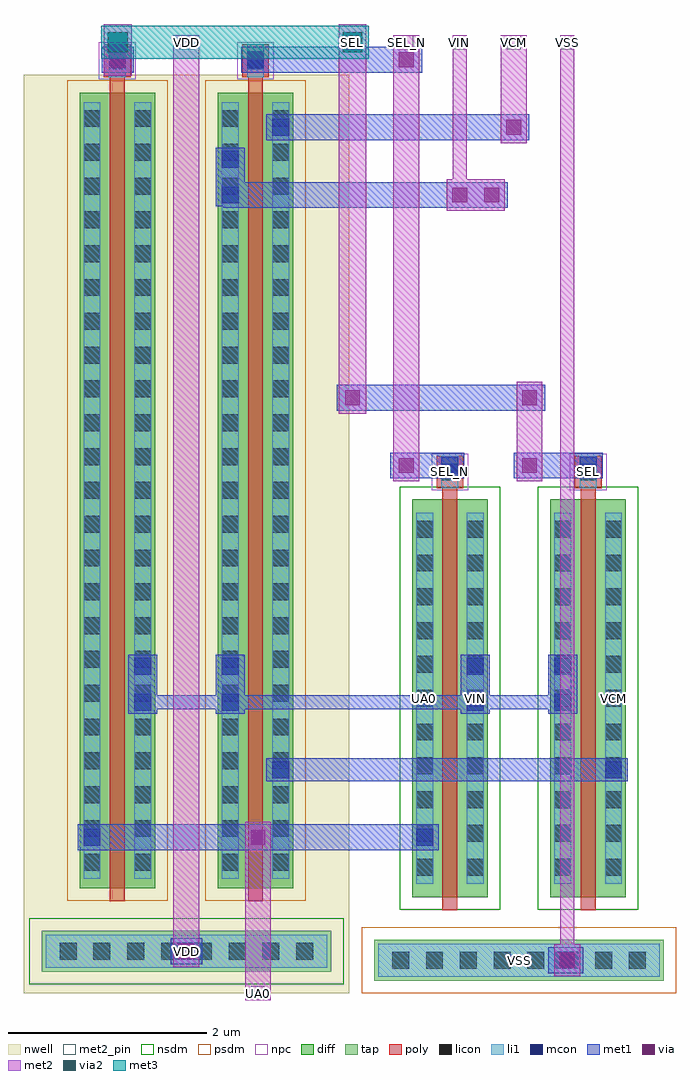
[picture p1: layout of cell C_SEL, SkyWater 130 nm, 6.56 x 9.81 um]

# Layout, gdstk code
import gdstk
lib = gdstk.Library(unit=1e-6, precision=1e-09)
def R(c, l, rs):  # rectangles x0, y0, x1, y1
    for r in rs: c.add(gdstk.rectangle(r[:2], r[2:], *l))
def A(c, l, x, y, w, h, nx, ny, dx, dy):  # array of equal rectangles
    R(c, l, [(x+i*dx, y+j*dy, x+i*dx+w, y+j*dy+h) for i in range(nx) for j in range(ny)])
nwell = (64, 20)
diff = (65, 20)
tap = (65, 44)
poly = (66, 20)
licon = (66, 44)
li1 = (67, 20)
mcon = (67, 44)
met1 = (68, 20)
via = (68, 44)
met2_pin = (69, 16)
met2 = (69, 20)
via2 = (69, 44)
met3 = (70, 20)
nsdm = (93, 44)
psdm = (94, 20)
npc = (95, 20)

c_sel = lib.new_cell('C_SEL')
R(c_sel, nwell, [(-1.635,-1.055,1.635,8.18)])
R(c_sel, diff, [(2.27,-0.09,3.03,3.91), (3.66,-0.09,4.42,3.91), (-1.075,0,-0.315,8), (0.315,0,1.075,8)])
R(c_sel, tap, [(1.89,-0.93,4.8,-0.52), (-1.455,-0.84,1.455,-0.43)])
R(c_sel, poly, [(2.575,-0.22,2.725,4.35), (3.965,-0.22,4.115,4.35), (-0.77,-0.13,-0.62,8.485), (0.62,-0.13,0.77,8.485), (2.515,4.02,2.785,4.35), (3.905,4.02,4.175,4.35), (-0.83,8.155,-0.56,8.485), (0.56,8.155,0.83,8.485)])
A(c_sel, licon, 2.07, -0.81, 0.17, 0.17, 8, 1, 0.34, 0)
A(c_sel, licon, -1.275, -0.72, 0.17, 0.17, 8, 1, 0.34, 0)
A(c_sel, licon, 2.31, 0.125, 0.17, 0.17, 1, 11, 0, 0.34)
A(c_sel, licon, 2.82, 0.125, 0.17, 0.17, 1, 11, 0, 0.34)
A(c_sel, licon, 3.7, 0.125, 0.17, 0.17, 1, 11, 0, 0.34)
A(c_sel, licon, 4.21, 0.125, 0.17, 0.17, 1, 11, 0, 0.34)
A(c_sel, licon, -1.035, 0.175, 0.17, 0.17, 1, 23, 0, 0.34)
A(c_sel, licon, -0.525, 0.175, 0.17, 0.17, 1, 23, 0, 0.34)
A(c_sel, licon, 0.355, 0.175, 0.17, 0.17, 1, 23, 0, 0.34)
A(c_sel, licon, 0.865, 0.175, 0.17, 0.17, 1, 23, 0, 0.34)
R(c_sel, licon, [(2.565,4.1,2.735,4.27), (3.955,4.1,4.125,4.27), (-0.78,8.235,-0.61,8.405), (0.61,8.235,0.78,8.405)])
R(c_sel, li1, [(1.93,-0.89,4.76,-0.56), (3.7,-0.81,3.87,-0.64), (-1.415,-0.8,1.415,-0.47), (-0.085,-0.72,0.085,-0.55), (2.31,0.045,2.48,3.775), (2.82,0.045,2.99,3.775), (3.7,0.045,3.87,3.775), (4.21,0.045,4.38,3.775), (-1.035,0.095,-0.865,7.905), (-0.525,0.095,-0.355,7.905), (0.355,0.095,0.525,7.905), (0.865,0.095,1.035,7.905), (-1.035,0.425,-0.865,0.595), (2.31,0.425,2.48,0.595), (0.865,1.105,1.035,1.275), (4.21,1.105,4.38,1.275), (-0.525,1.785,-0.355,2.315), (0.355,1.785,0.525,2.315), (2.82,1.785,2.99,2.315), (3.7,1.785,3.87,2.315), (2.565,4.02,2.735,4.35), (3.955,4.02,4.125,4.35), (2.565,4.165,2.735,4.335), (3.955,4.165,4.125,4.335), (0.355,6.885,0.525,7.415), (0.865,7.565,1.035,7.735), (-0.78,8.155,-0.61,8.485), (0.61,8.155,0.78,8.485), (-0.78,8.245,-0.61,8.415), (0.61,8.245,0.78,8.415)])
R(c_sel, mcon, [(3.7,-0.81,3.87,-0.64), (-0.085,-0.72,0.085,-0.55), (-1.035,0.425,-0.865,0.595), (2.31,0.425,2.48,0.595), (0.865,1.105,1.035,1.275), (4.21,1.105,4.38,1.275), (-0.525,1.785,-0.355,1.955), (0.355,1.785,0.525,1.955), (2.82,1.785,2.99,1.955), (3.7,1.785,3.87,1.955), (-0.525,2.145,-0.355,2.315), (0.355,2.145,0.525,2.315), (2.82,2.145,2.99,2.315), (3.7,2.145,3.87,2.315), (2.565,4.165,2.735,4.335), (3.955,4.165,4.125,4.335), (0.355,6.885,0.525,7.055), (0.355,7.245,0.525,7.415), (0.865,7.565,1.035,7.735), (-0.78,8.245,-0.61,8.415), (0.61,8.245,0.78,8.415)])
R(c_sel, met1, [(3.64,-0.855,3.99,-0.595), (3.67,-0.855,3.99,-0.595), (3.715,-0.855,3.9,-0.595), (3.64,-0.84,3.93,-0.61), (3.715,-0.84,3.9,-0.61), (3.715,-0.795,3.9,-0.655), (-0.16,-0.765,0.16,-0.505), (-0.145,-0.75,0.145,-0.52), (-1.095,0.38,0.79,0.64), (-1.02,0.38,0.79,0.64), (0.56,0.38,0.88,0.64), (0.65,0.38,2.465,0.64), (0.65,0.38,2.54,0.64), (-1.095,0.395,-0.805,0.625), (-1.02,0.395,0.79,0.625), (0.65,0.395,2.465,0.625), (2.25,0.395,2.54,0.625), (-1.02,0.44,0.79,0.58), (0.65,0.44,2.465,0.58), (0.805,1.075,1.095,1.305), (0.88,1.075,4.365,1.305), (4.15,1.075,4.44,1.305), (0.88,1.12,4.365,1.26), (-0.585,1.755,-0.295,2.345), (0.295,1.755,0.585,2.345), (2.76,1.755,3.05,2.345), (3.64,1.755,3.93,2.345), (-0.51,1.8,0.51,1.94), (0.37,1.8,2.975,1.94), (2.835,1.8,3.855,1.94), (2.05,4.12,2.37,4.38), (2.14,4.12,2.795,4.38), (2.14,4.12,2.72,4.38), (3.29,4.12,3.61,4.38), (3.38,4.12,4.11,4.38), (3.38,4.12,4.185,4.38), (2.14,4.135,2.72,4.365), (2.505,4.135,2.795,4.365), (3.38,4.135,4.11,4.365), (3.895,4.135,4.185,4.365), (2.14,4.18,2.72,4.32), (3.38,4.18,4.11,4.32), (1.51,4.8,1.83,5.06), (1.6,4.8,3.52,5.06), (3.29,4.8,3.61,5.06), (1.6,4.86,3.52,5), (0.37,6.84,2.82,7.1), (2.59,6.84,3.23,7.1), (0.295,6.855,0.585,7.445), (0.37,6.9,2.82,7.04), (0.805,7.52,3.36,7.78), (0.88,7.52,3.36,7.78), (3.13,7.52,3.45,7.78), (0.805,7.535,1.095,7.765), (0.88,7.535,3.36,7.765), (0.88,7.58,3.36,7.72), (-0.85,8.2,-0.53,8.46), (-0.765,8.2,-0.62,8.46), (0.55,8.2,2.28,8.46), (0.625,8.2,2.28,8.46), (2.05,8.2,2.37,8.46), (-0.84,8.215,-0.55,8.445), (-0.765,8.215,-0.62,8.445), (0.55,8.215,0.84,8.445), (0.625,8.215,2.28,8.445), (-0.765,8.26,-0.62,8.4), (0.625,8.26,2.28,8.4)])
R(c_sel, via, [(3.755,-0.8,3.905,-0.65), (-0.075,-0.71,0.075,-0.56), (0.645,0.435,0.795,0.585), (2.135,4.175,2.285,4.325), (3.375,4.175,3.525,4.325), (1.595,4.855,1.745,5.005), (3.375,4.855,3.525,5.005), (2.675,6.895,2.825,7.045), (2.995,6.895,3.145,7.045), (3.215,7.575,3.365,7.725), (-0.765,8.255,-0.615,8.405), (2.135,8.255,2.285,8.405)])
A(c_sel, met2_pin, 1.6, 8.435, 0.14, 0.14, 5, 1, 0.54, 0)
R(c_sel, met2_pin, [(0.65,-1.125,0.79,-0.985), (-0.07,8.435,0.07,8.575)])
R(c_sel, met2, [(0.59,-1.125,0.85,0.58), (0.65,-1.125,0.79,0.58), (3.7,-0.885,3.96,-0.565), (-0.13,-0.795,0.13,-0.475), (3.76,-0.795,3.9,8.575), (-0.13,-0.705,0.13,8.575), (-0.07,-0.705,0.07,8.575), (0.59,0.35,0.85,0.67), (2.08,4.09,2.34,4.41), (3.32,4.09,3.58,4.41), (2.08,4.18,2.34,8.4), (2.14,4.18,2.28,8.4), (3.32,4.18,3.58,5), (3.38,4.18,3.52,5), (1.53,4.77,1.81,8.575), (1.54,4.77,1.8,5.09), (3.32,4.77,3.58,5.09), (1.53,4.86,1.81,8.575), (1.54,4.86,1.8,8.575), (1.6,4.86,1.74,8.575), (2.62,6.81,3.2,7.13), (2.68,6.9,2.82,8.575), (3.16,7.49,3.42,7.81), (3.16,7.58,3.42,8.575), (3.22,7.58,3.36,8.575), (-0.83,8.17,-0.55,8.69), (-0.83,8.17,-0.55,8.575), (-0.82,8.17,-0.56,8.49), (2.08,8.17,2.34,8.49), (-0.83,8.26,-0.55,8.575), (-0.82,8.26,-0.56,8.575), (-0.76,8.26,-0.62,8.575), (2.08,8.26,2.34,8.575), (2.14,8.26,2.28,8.575), (-0.83,8.32,-0.55,8.69), (1.53,8.32,1.81,8.69)])
R(c_sel, via2, [(-0.79,8.405,-0.59,8.605), (1.57,8.405,1.77,8.605)])
R(c_sel, met3, [(-0.855,8.34,-0.525,8.67), (-0.84,8.34,1.82,8.67), (1.505,8.34,1.835,8.67), (-0.84,8.355,1.82,8.655)])
R(c_sel, nsdm, [(-1.58,-0.965,1.58,-0.305), (2.145,-0.215,3.155,4.035), (3.535,-0.215,4.545,4.035)])
R(c_sel, psdm, [(1.765,-1.055,4.925,-0.395), (-1.2,-0.125,-0.19,8.125), (0.19,-0.125,1.2,8.125)])
R(c_sel, npc, [(2.465,4,2.835,4.37), (3.855,4,4.225,4.37), (-0.88,8.135,-0.51,8.505), (0.51,8.135,0.88,8.505)])
c_sel.add(gdstk.Label('VSS', (3.83,8.505), layer=69, texttype=5))
c_sel.add(gdstk.Label('VCM', (3.29,8.505), layer=69, texttype=5))
c_sel.add(gdstk.Label('VIN', (2.75,8.505), layer=69, texttype=5))
c_sel.add(gdstk.Label('SEL', (1.67,8.505), layer=69, texttype=5))
c_sel.add(gdstk.Label('VDD', (0,8.505), layer=69, texttype=5))
c_sel.add(gdstk.Label('SEL_N', (2.21,8.505), layer=69, texttype=5))
c_sel.add(gdstk.Label('UA0', (0.72,-1.055), layer=69, texttype=5))
c_sel.add(gdstk.Label('VSS', (3.345,-0.725), layer=67, texttype=5))
c_sel.add(gdstk.Label('VDD', (0,-0.635), layer=67, texttype=5))
c_sel.add(gdstk.Label('SEL', (4.04,4.185), layer=67, texttype=5))
c_sel.add(gdstk.Label('VIN', (2.905,1.91), layer=67, texttype=5))
c_sel.add(gdstk.Label('VCM', (4.295,1.91), layer=67, texttype=5))
c_sel.add(gdstk.Label('SEL_N', (2.65,4.185), layer=67, texttype=5))
c_sel.add(gdstk.Label('UA0', (2.395,1.91), layer=67, texttype=5))

lib.write_gds('C_SEL.gds')
